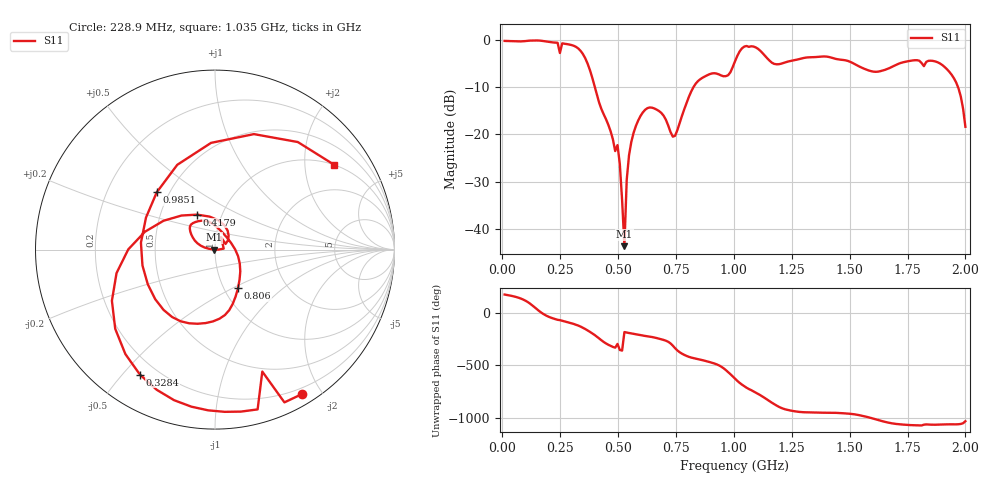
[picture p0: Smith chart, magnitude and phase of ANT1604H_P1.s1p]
!Created with skrf (http://scikit-rf.org).
# Hz S RI R 50.0
!freq ReS11 ImS11
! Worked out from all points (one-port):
!   201 points, 10 MHz to 2 GHz, reference 50 ohm
!   lowest |S11| = -43.6 dB at 527.4 MHz (marker M1), VSWR 1.01, Z = 49.3 + j0.0281 ohm
!   |S11| at or under -10 dB: 399.9 MHz to 825.4 MHz (425.5 MHz wide, 69.5 % of centre); 1.968 GHz to end of sweep
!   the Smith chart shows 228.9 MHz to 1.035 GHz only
!   S11 on the Smith chart (normalised r, x): 228.9 MHz: 0.13, -1.76; 328.4 MHz: 0.14, -0.56; 417.9 MHz: 0.76, +0.31; 806 MHz: 1.16, -0.53; 985.1 MHz: 0.43, +0.34; 1.035 GHz: 1.00, +2.81
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1e7  -0.9758 0.073
7.965e7  -0.7162 0.6487
1.1945e8  0.00565 0.9855
1.692e8  0.9811 0.0339
2.289e8  0.4823 -0.8061
2.5875e8  0.2375 -0.8903
3.284e8  -0.4181 -0.6965
3.682e8  -0.5486 -0.1309
4.1795e8  -0.0989 0.1948
5.075e8  0.0486 0.00551
5.274e8  -0.00657 0.000285
5.3735e8  -0.0328 0.00432
5.473e8  -0.059 0.0121
5.871e8  -0.1238 0.0675
7.5625e8  0.1116 0.00236
8.06e8  0.128 -0.2158
9.1545e8  -0.239 -0.3755
9.851e8  -0.3244 0.3196
1.005e9  -0.0219 0.5947
1.03485e9  0.6642 0.4725
1.07465e9  0.8213 -0.2499
1.1244e9  0.1361 -0.7123
1.17415e9  -0.4883 -0.2721
1.25375e9  -0.4911 0.3559
1.5025e9  -0.2638 0.525
1.75125e9  0.5863 0.1054
1.93035e9  0.4436 0.1281
2e9  0.0837 0.0869
